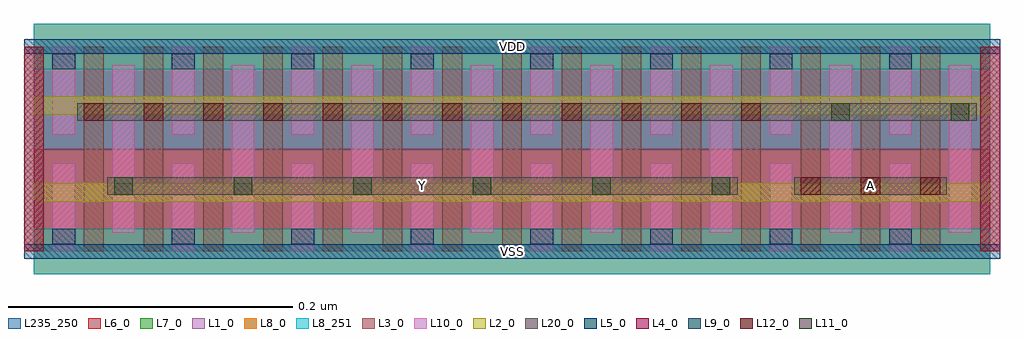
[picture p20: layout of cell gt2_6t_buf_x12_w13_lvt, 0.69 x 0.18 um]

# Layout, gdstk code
import gdstk
lib = gdstk.Library(unit=1e-6, precision=5e-10)
def R(c, l, rs):  # rectangles x0, y0, x1, y1
    for r in rs: c.add(gdstk.rectangle(r[:2], r[2:], *l))
def A(c, l, x, y, w, h, nx, ny, dx, dy):  # array of equal rectangles
    R(c, l, [(x+i*dx, y+j*dy, x+i*dx+w, y+j*dy+h) for i in range(nx) for j in range(ny)])
L1_0 = (1, 0)
L2_0 = (2, 0)
L3_0 = (3, 0)
L4_0 = (4, 0)
L5_0 = (5, 0)
L6_0 = (6, 0)
L7_0 = (7, 0)
L8_0 = (8, 0)
L8_251 = (8, 251)
L9_0 = (9, 0)
L10_0 = (10, 0)
L11_0 = (11, 0)
L12_0 = (12, 0)
L20_0 = (20, 0)
L235_250 = (235, 250)

gt2_6t_buf_x12_w13_lvt = lib.new_cell('gt2_6t_buf_x12_w13_lvt')
R(gt2_6t_buf_x12_w13_lvt, L1_0, [(0,0.072,0.672,0.144)])
R(gt2_6t_buf_x12_w13_lvt, L2_0, [(0,0.035,0.672,0.048), (0,0.096,0.672,0.109)])
A(gt2_6t_buf_x12_w13_lvt, L3_0, -0.007, 0, 0.014, 0.144, 17, 1, 0.042, 0)
R(gt2_6t_buf_x12_w13_lvt, L4_0, [(-0.007,0,0.007,0.144), (0.665,0,0.679,0.144)])
R(gt2_6t_buf_x12_w13_lvt, L5_0, [(-0.007,-0.005,0.679,0.005), (-0.007,0.139,0.679,0.149)])
R(gt2_6t_buf_x12_w13_lvt, L6_0, [(0,0,0.672,0.072)])
R(gt2_6t_buf_x12_w13_lvt, L7_0, [(0,0.072,0.672,0.144)])
R(gt2_6t_buf_x12_w13_lvt, L8_0, [(0,-0.016,0.672,0.016), (0,0.128,0.672,0.16)])
R(gt2_6t_buf_x12_w13_lvt, L8_251, [(0,-0.016,0.672,0.016), (0,0.128,0.672,0.16)])
A(gt2_6t_buf_x12_w13_lvt, L9_0, 0.013, 0.005, 0.016, 0.011, 8, 2, 0.084, 0.123)
A(gt2_6t_buf_x12_w13_lvt, L10_0, 0.013, 0, 0.016, 0.062, 8, 2, 0.084, 0.082)
A(gt2_6t_buf_x12_w13_lvt, L10_0, 0.055, 0.013, 0.016, 0.118, 8, 1, 0.084, 0)
A(gt2_6t_buf_x12_w13_lvt, L11_0, 0.0565, 0.04, 0.013, 0.012, 6, 1, 0.084, 0)
R(gt2_6t_buf_x12_w13_lvt, L11_0, [(0.5605,0.092,0.5735,0.104), (0.6445,0.092,0.6575,0.104)])
A(gt2_6t_buf_x12_w13_lvt, L12_0, 0.539, 0.04, 0.014, 0.012, 3, 1, 0.042, 0)
A(gt2_6t_buf_x12_w13_lvt, L12_0, 0.035, 0.092, 0.014, 0.012, 12, 1, 0.042, 0)
R(gt2_6t_buf_x12_w13_lvt, L20_0, [(0.0515,0.04,0.4945,0.052), (0.5345,0.04,0.6415,0.052), (0.0305,0.092,0.6625,0.104)])
R(gt2_6t_buf_x12_w13_lvt, L235_250, [(0,0,0.672,0.144)])
gt2_6t_buf_x12_w13_lvt.add(gdstk.Label('VSS', (0.336,0), layer=8, texttype=251))
gt2_6t_buf_x12_w13_lvt.add(gdstk.Label('VDD', (0.336,0.144), layer=8, texttype=251))
gt2_6t_buf_x12_w13_lvt.add(gdstk.Label('A', (0.588,0.046), layer=20, texttype=251))
gt2_6t_buf_x12_w13_lvt.add(gdstk.Label('Y', (0.273,0.046), layer=20, texttype=251))

lib.write_gds('gt2_6t_buf_x12_w13_lvt.gds')
